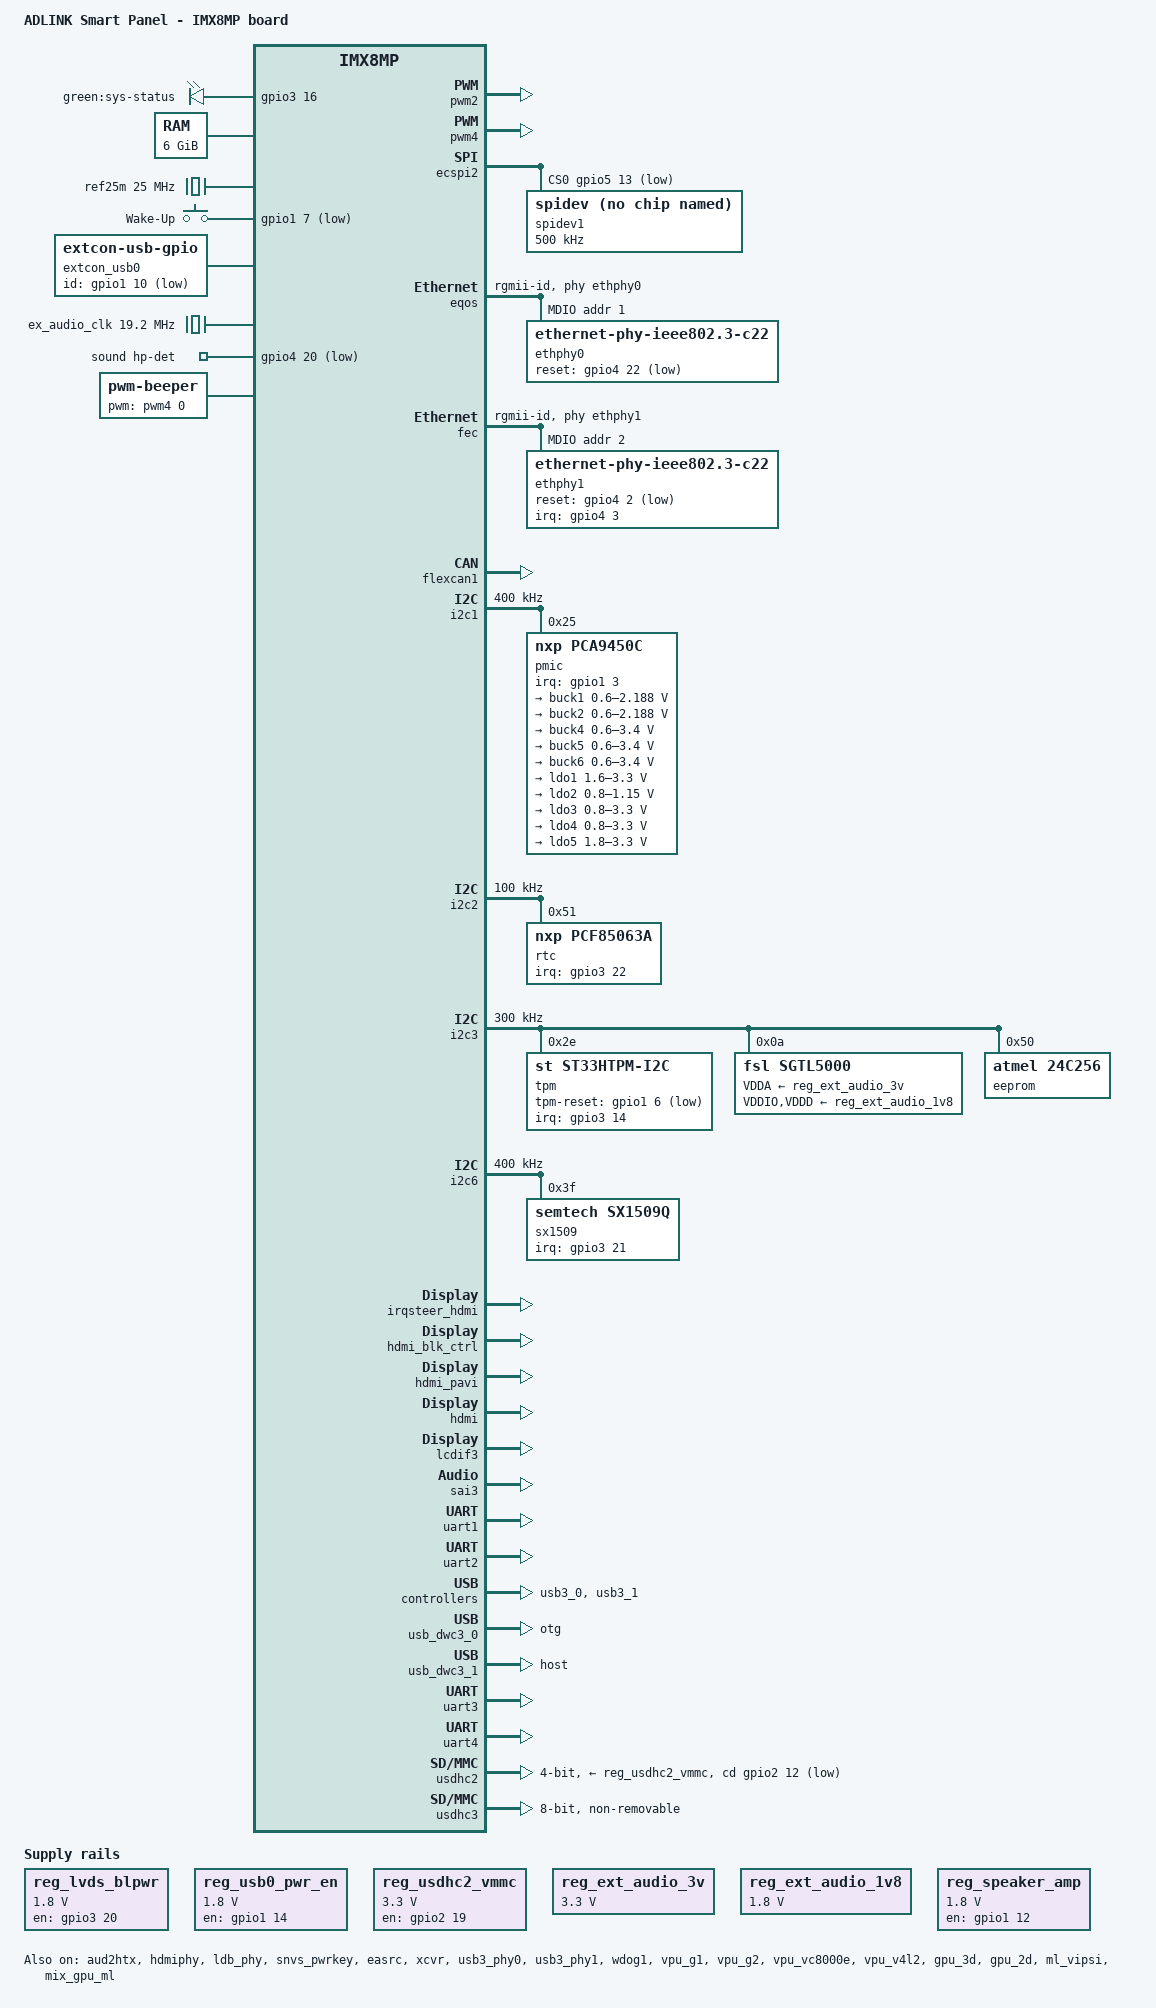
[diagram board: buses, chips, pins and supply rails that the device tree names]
// SPDX-License-Identifier: (GPL-2.0+ OR MIT)
/*
 * Copyright 2019 NXP
 */

/dts-v1/;

#include <dt-bindings/phy/phy-imx8-pcie.h>
#include <dt-bindings/usb/pd.h>
#include "imx8mp.dtsi"
#include <dt-bindings/gpio/gpio.h>
#include <dt-bindings/leds/common.h>

/ {
	model = "ADLINK Smart Panel - IMX8MP board";
	compatible = "fsl,imx8mp-evk", "fsl,imx8mp";

	chosen {
		stdout-path = &uart2;
	};

	gpio-leds {
		compatible = "gpio-leds";
		pinctrl-names = "default";
		pinctrl-0 = <&pinctrl_gpio_led>;

		status_led {
			label = "green:sys-status";
			gpios = <&gpio3 16 GPIO_ACTIVE_HIGH>;
			default-state = "on"; /* LED GREEN */
		};
	};

	memory@40000000 {
		device_type = "memory";
		reg = <0x0 0x40000000 0 0xc0000000>,
		      <0x1 0x00000000 0 0xc0000000>;
	};

	/* 25MHz reference crystal */
	ref25m: ref25xtal {
		compatible = "fixed-clock";
		#clock-cells = <0>;
		clock-frequency = <25000000>;
	};

	reg_lvds_blpwr: regulator-lvds-pwr {
		compatible = "regulator-fixed";
		pinctrl-names = "default";
		pinctrl-0 = <&pinctrl_reg_lvds_bl_pwr>;
		regulator-name = "vdd";
		regulator-min-microvolt = <1800000>;
		regulator-max-microvolt = <1800000>;
		gpio = <&gpio3 20 GPIO_ACTIVE_HIGH>;
		enable-active-high;
	};

	reg_usb0_pwr_en: regulator-usb0pwren {
		compatible = "regulator-fixed";
		pinctrl-names = "default";
		pinctrl-0 = <&pinctrl_usb0_pwr_en>;
		regulator-name = "usb0-pwr-en";
		regulator-min-microvolt = <1800000>;
		regulator-max-microvolt = <1800000>;
		gpio = <&gpio1 14 GPIO_ACTIVE_HIGH>;
		enable-active-high;
		regulator-always-on;
	};

	gpio-keys {
		compatible = "gpio-keys";
		pinctrl-names = "default";
		pinctrl-0 = <&pinctrl_gpio_keys>;

		wakeup {
			label = "Wake-Up";
			gpios = <&gpio1 7 GPIO_ACTIVE_LOW>;
			linux,code = <KEY_WAKEUP>;
			debounce-interval = <10>;
			wakeup-source;
		};
	};

	extcon_usb0: extcon-usb-idvbus-grp0 {
		compatible = "linux,extcon-usb-gpio";
		id-gpio = <&gpio1 10 GPIO_ACTIVE_LOW>; /* GPIO1_IO10 */
		// vbus-gpio = <&gpio1 15 GPIO_ACTIVE_LOW>; /* GPIO1_IO15 */
	};

	reg_usdhc2_vmmc: regulator-usdhc2 {
		compatible = "regulator-fixed";
		pinctrl-names = "default";
		pinctrl-0 = <&pinctrl_reg_usdhc2_vmmc>;
		regulator-name = "VSD_3V3";
		regulator-min-microvolt = <3300000>;
		regulator-max-microvolt = <3300000>;
		gpio = <&gpio2 19 GPIO_ACTIVE_HIGH>;
		enable-active-high;
	};

	reg_ext_audio_3v: regulator-ext-audio-3v {
		compatible = "regulator-fixed";
		regulator-name = "ext-audio-3V";
		regulator-min-microvolt = <3300000>;
		regulator-max-microvolt = <3300000>;
		regulator-always-on;
	};

	reg_ext_audio_1v8: regulator-ext-audio-1v8 {
		compatible = "regulator-fixed";
		regulator-name = "+V1.8";
		regulator-min-microvolt = <1800000>;
		regulator-max-microvolt = <1800000>;
		regulator-always-on;
	};

	ex_audio_clk: sgtl5000_19M {
		compatible = "fixed-clock";
		#clock-cells = <0>;
		clock-frequency = <19200000>; /* 19.2MHz */
	};

	reg_speaker_amp: regulator-audio-amplifier {
		compatible = "regulator-fixed";
		pinctrl-names = "default";
		pinctrl-0 = <&pinctrl_usbhub_spkamp>;
		regulator-name = "speaker-amp";
		regulator-min-microvolt = <1800000>;
		regulator-max-microvolt = <1800000>;
		gpios = <&gpio1 12 GPIO_ACTIVE_HIGH>;
		enable-active-high;
		regulator-always-on;
	};

	sound-hdmi {
		compatible = "fsl,imx-audio-hdmi";
		model = "audio-hdmi";
		audio-cpu = <&aud2htx>;
		hdmi-out;
		constraint-rate = <44100>,
				<88200>,
				<176400>,
				<32000>,
				<48000>,
				<96000>,
				<192000>;
		status = "okay";
	};

	sound {
		compatible = "fsl,imx-audio-sgtl5000";
		model = "audio-sgtl5000";
		pinctrl-names = "default";
		pinctrl-0 = <&pinctrl_hpdet>;
		hp-det-gpio = <&gpio4 20 GPIO_ACTIVE_LOW>;
		codec-master;
		ssi-controller = <&sai3>;
		audio-codec = <&sgtl5000>;
		audio-routing =
			"MIC_IN", "Mic Jack",
			"Mic Jack", "Mic Bias",
			"Headphone Jack", "HP_OUT",
			"Ext Spk", "LINE_OUT";
		mux-int-port = <1>;
		mux-ext-port = <3>;
	};

	lvds_backlight: lvds_backlight {
		compatible = "pwm-backlight";
		pinctrl-names = "default";
		pinctrl-0 = <&pinctrl_reg_bl_en>;
		enable-gpios = <&gpio1 0 GPIO_ACTIVE_HIGH>;
		power-supply = <&reg_lvds_blpwr>;
		pwms = <&pwm2 0 100000 0>;
		status = "disabled";

		brightness-levels = < 0  1  2  3  4  5  6  7  8  9
				     10 11 12 13 14 15 16 17 18 19
				     20 21 22 23 24 25 26 27 28 29
				     30 31 32 33 34 35 36 37 38 39
				     40 41 42 43 44 45 46 47 48 49
				     50 51 52 53 54 55 56 57 58 59
				     60 61 62 63 64 65 66 67 68 69
				     70 71 72 73 74 75 76 77 78 79
				     80 81 82 83 84 85 86 87 88 89
				     90 91 92 93 94 95 96 97 98 99
				    100>;
		default-brightness-level = <80>;
	};

	lvds0_panel {
		backlight = <&lvds_backlight>;
		pinctrl-names = "default";
		pinctrl-0 = <&pinctrl_reg_lvds_vdd>;
		enable-gpios = <&gpio4 27 GPIO_ACTIVE_HIGH>;

		data-mapping = "vesa-24";
		status = "disabled";

		port {
			panel_lvds_in: endpoint {
				remote-endpoint = <&lvds_out>;
			};
		};
	};

	pwm-beeper {
		compatible = "pwm-beeper";
		pwms = <&pwm4 0 500000 0>;
	};
};

&A53_0 {
	cpu-supply = <&buck2>;
};

&A53_1 {
	cpu-supply = <&buck2>;
};

&A53_2 {
	cpu-supply = <&buck2>;
};

&A53_3 {
	cpu-supply = <&buck2>;
};

&gpio1 {
	pinctrl-names = "default";
	pinctrl-0 = <&pinctrl_gpio1_hog>;

	gpio-line-names =       \
		"", "USB_MUX_SEL", "", "", "", "", "", "",  \
		"", "", "", "", "", "", "", "",      \
		"", "", "", "", "", "", "", "", \
		"", "", "", "", "", "", "", "";
};

&gpio4 {
	pinctrl-names = "default";
	pinctrl-0 = <&pinctrl_gpio4_hog>;

	gpio-line-names =	\
		"", "", "", "", "", "", "", "",	\
		"", "", "", "", "", "", "", "",	\
		"", "", "", "", "", "", "", "",	\
		"UART_MODE0", "UART_MODE1", "", "", "HWID_2", "HWID_3", "", "";
/*
	uart_mode0 {
		gpios = <&gpio4 24 GPIO_ACTIVE_HIGH>;
		output-low;
		line-name = "UART_MODE0";
	};

	uart_mode1 {
		gpios = <&gpio4 25 GPIO_ACTIVE_HIGH>;
		output-low;
		line-name = "UART_MODE1";
	};

	hwid_2 {
		gpios = <&gpio4 28 GPIO_ACTIVE_HIGH>;
		input;
		line-name = "HWID_2";
	};

	hwid_3 {
		gpios = <&gpio4 29 GPIO_ACTIVE_HIGH>;
		input;
		line-name = "HWID_3";
	};
*/
};

&gpio5 {
	pinctrl-names = "default";
	pinctrl-0 = <&pinctrl_gpio5_hog>;

	gpio-line-names =	\
		"", "", "", "", "", "HWID_1", "", "",	\
		"", "", "", "", "", "", "", "",	\
		"", "", "", "", "", "", "", "",	\
		"", "", "", "", "", "", "", "";
/*
	hwid_1 {
		gpios = <&gpio5 5 GPIO_ACTIVE_HIGH>;
		input;
		line-name = "HWID_1";
	};
*/
};

&pwm2 {
	pinctrl-names = "default";
	pinctrl-0 = <&pinctrl_bl_pwm2>;
	status = "okay";
};

&pwm4 {
	pinctrl-names = "default";
	pinctrl-0 = <&pinctrl_buzz_pwm4>;
	status = "okay";
};

&aud2htx {
	status = "okay";
};

&ecspi2 {
	#address-cells = <1>;
	#size-cells = <0>;
	fsl,spi-num-chipselects = <1>;
	pinctrl-names = "default";
	pinctrl-0 = <&pinctrl_ecspi2 &pinctrl_ecspi2_cs>;
	cs-gpios = <&gpio5 13 GPIO_ACTIVE_LOW>;
	status = "okay";

	spidev1: spi@0 {
		reg = <0>;
		compatible = "rohm,dh2228fv";
		spi-max-frequency = <500000>;
	};
};

&eqos {
	pinctrl-names = "default";
	pinctrl-0 = <&pinctrl_eqos>;
	phy-mode = "rgmii-id";
	phy-handle = <&ethphy0>;
	snps,force_thresh_dma_mode;
	snps,mtl-tx-config = <&mtl_tx_setup>;
	snps,mtl-rx-config = <&mtl_rx_setup>;
	status = "okay";

	mdio {
		compatible = "snps,dwmac-mdio";
		#address-cells = <1>;
		#size-cells = <0>;

		ethphy0: ethernet-phy@1 {
			compatible = "ethernet-phy-ieee802.3-c22";
			reg = <1>;
			eee-broken-1000t;
			reset-gpios = <&gpio4 22 GPIO_ACTIVE_LOW>;
			reset-assert-us = <10000>;
			reset-deassert-us = <80000>;
			realtek,clkout-disable;
		};
	};

	mtl_tx_setup: tx-queues-config {
		snps,tx-queues-to-use = <5>;
		snps,tx-sched-sp;

		queue0 {
			snps,dcb-algorithm;
			snps,priority = <0x1>;
		};

		queue1 {
			snps,dcb-algorithm;
			snps,priority = <0x2>;
		};

		queue2 {
			snps,dcb-algorithm;
			snps,priority = <0x4>;
		};

		queue3 {
			snps,dcb-algorithm;
			snps,priority = <0x8>;
		};

		queue4 {
			snps,dcb-algorithm;
			snps,priority = <0xf0>;
		};
	};

	mtl_rx_setup: rx-queues-config {
		snps,rx-queues-to-use = <5>;
		snps,rx-sched-sp;

		queue0 {
			snps,dcb-algorithm;
			snps,priority = <0x1>;
			snps,map-to-dma-channel = <0>;
		};

		queue1 {
			snps,dcb-algorithm;
			snps,priority = <0x2>;
			snps,map-to-dma-channel = <1>;
		};

		queue2 {
			snps,dcb-algorithm;
			snps,priority = <0x4>;
			snps,map-to-dma-channel = <2>;
		};

		queue3 {
			snps,dcb-algorithm;
			snps,priority = <0x8>;
			snps,map-to-dma-channel = <3>;
		};

		queue4 {
			snps,dcb-algorithm;
			snps,priority = <0xf0>;
			snps,map-to-dma-channel = <4>;
		};
	};
};

&fec {
	pinctrl-names = "default";
	pinctrl-0 = <&pinctrl_fec>;
	phy-mode = "rgmii-id";
	phy-handle = <&ethphy1>;
	fsl,magic-packet;
	status = "okay";

	mdio {
		#address-cells = <1>;
		#size-cells = <0>;

		ethphy1: ethernet-phy@1 {
			compatible = "ethernet-phy-ieee802.3-c22";
			reg = <2>;
			eee-broken-1000t;
			reset-gpios = <&gpio4 2 GPIO_ACTIVE_LOW>;
			reset-assert-us = <10000>;
			reset-deassert-us = <80000>;
			realtek,aldps-enable;
			realtek,clkout-disable;
			interrupt-parent = <&gpio4>;
			interrupts = <3 IRQ_TYPE_LEVEL_LOW>;
			wakeup-source;
		};
	};
};

&flexcan1 {
	pinctrl-names = "default";
	pinctrl-0 = <&pinctrl_flexcan1>;
	status = "okay";
};

&i2c1 {
	clock-frequency = <400000>;
	pinctrl-names = "default";
	pinctrl-0 = <&pinctrl_i2c1>;
	status = "okay";

	pmic@25 {
		compatible = "nxp,pca9450c";
		reg = <0x25>;
		pinctrl-names = "default";
		pinctrl-0 = <&pinctrl_pmic>;
		interrupt-parent = <&gpio1>;
		interrupts = <3 IRQ_TYPE_LEVEL_LOW>;

		regulators {
			buck1: BUCK1 {
				regulator-name = "BUCK1";
				regulator-min-microvolt = <600000>;
				regulator-max-microvolt = <2187500>;
				regulator-boot-on;
				regulator-always-on;
				regulator-ramp-delay = <3125>;
			};

			buck2: BUCK2 {
				regulator-name = "BUCK2";
				regulator-min-microvolt = <600000>;
				regulator-max-microvolt = <2187500>;
				regulator-boot-on;
				regulator-always-on;
				regulator-ramp-delay = <3125>;
				nxp,dvs-run-voltage = <950000>;
				nxp,dvs-standby-voltage = <850000>;
			};

			buck4: BUCK4{
				regulator-name = "BUCK4";
				regulator-min-microvolt = <600000>;
				regulator-max-microvolt = <3400000>;
				regulator-boot-on;
				regulator-always-on;
			};

			buck5: BUCK5{
				regulator-name = "BUCK5";
				regulator-min-microvolt = <600000>;
				regulator-max-microvolt = <3400000>;
				regulator-boot-on;
				regulator-always-on;
			};

			buck6: BUCK6 {
				regulator-name = "BUCK6";
				regulator-min-microvolt = <600000>;
				regulator-max-microvolt = <3400000>;
				regulator-boot-on;
				regulator-always-on;
			};

			ldo1: LDO1 {
				regulator-name = "LDO1";
				regulator-min-microvolt = <1600000>;
				regulator-max-microvolt = <3300000>;
				regulator-boot-on;
				regulator-always-on;
			};

			ldo2: LDO2 {
				regulator-name = "LDO2";
				regulator-min-microvolt = <800000>;
				regulator-max-microvolt = <1150000>;
				regulator-boot-on;
				regulator-always-on;
			};

			ldo3: LDO3 {
				regulator-name = "LDO3";
				regulator-min-microvolt = <800000>;
				regulator-max-microvolt = <3300000>;
				regulator-boot-on;
				regulator-always-on;
			};

			ldo4: LDO4 {
				regulator-name = "LDO4";
				regulator-min-microvolt = <800000>;
				regulator-max-microvolt = <3300000>;
				regulator-boot-on;
				regulator-always-on;
			};

			ldo5: LDO5 {
				regulator-name = "LDO5";
				regulator-min-microvolt = <1800000>;
				regulator-max-microvolt = <3300000>;
				regulator-boot-on;
				regulator-always-on;
			};
		};
	};
};

&i2c2 {
	clock-frequency = <100000>;
	pinctrl-names = "default";
	pinctrl-0 = <&pinctrl_i2c2>;
	status = "okay";
	
	/* RTC: PCF85063A */
	rtc: pcf85063a@51 {
		compatible = "nxp,pcf85063a";
		pinctrl-names = "default";
		pinctrl-0 = <&pinctrl_rtc>;
		quartz-load-femtofarads = <12500>;
		reg = <0x51>;
		interrupt-parent = <&gpio3>;
		interrupts = <22 IRQ_TYPE_EDGE_FALLING>;
	};

	/* Comment to show an external PCIe CLK GEN: PI6CG33202C-ZDIEX */
	/* pcieclk0: pi6cg33202@6a {
		reg = <0x6a>;
		compatible = "pi,6cg33202";
	}; */

};

&i2c3 {
	clock-frequency = <300000>;
	pinctrl-names = "default";
	pinctrl-0 = <&pinctrl_i2c3>;
	status = "okay";

	/* TPM: ST33HTPH2X32AHD5 */
	tpm: st33htph77@2e {
		compatible = "st,st33htpm-i2c";
		reg = <0x2e>;

		pinctrl-names = "default";
		pinctrl-0 = <&pinctrl_tpm>;
		interrupt-parent = <&gpio3>;
		interrupts = <14 IRQ_TYPE_EDGE_FALLING>;
		tpm-reset = <&gpio1 6 GPIO_ACTIVE_LOW>;
		status = "okay";
	};

	/* sgtl5000 audio codec */
	sgtl5000: audio-codec@a {
		compatible = "fsl,sgtl5000";
		#sound-dai-cells = <0>;
		reg = <0x0a>;
		micbias-voltage-m-volts = <2250>;
		VDDA-supply = <&reg_ext_audio_3v>;
		VDDIO-supply = <&reg_ext_audio_1v8>;
		VDDD-supply = <&reg_ext_audio_1v8>;
		clocks = <&ex_audio_clk>;
	};

	eeprom@50 {
		compatible = "atmel,24c256";
		#address-cells = <1>;
		#size-cells = <0>;
		reg = <0x50>;
		pagesize = <64>;
		size = <32768>;
		address-width = <16>;
	};
};

&i2c6 {
	clock-frequency = <400000>;
	pinctrl-names = "default";
	pinctrl-0 = <&pinctrl_i2c6>;
	status = "okay";

	/* SX1509 */
	sx1509: gpioext0@3f {
		#gpio-cells = <2>;
		#interrupt-cells = <2>;
		compatible = "semtech,sx1509q";
		reg = <0x3f>;

		semtech,probe-reset;
		gpio-controller;
		interrupt-controller;

		interrupt-parent = <&gpio3>;
		interrupts = <21 IRQ_TYPE_EDGE_FALLING>;

		gpio-line-names =	\
		"DI0", "DI1", "DI2", "DI3", "DO0", "DO1", "DO2", "DO3",	\
		"", "", "", "", "", "", "", "";

		status = "okay";

		/* GPIO Expander 0 Mapping :
		 * 0: CN_DI0, 1: CN_DI1, 2: CN_DI2, 3: CN_DI3,
		 * 4: CN_DO0, 5: CN_DO1, 6: CN_DO2, 7: CN_DO3
		 * 8~15: N/A
		 */
	};
};

&irqsteer_hdmi {
	status = "okay";
};

&hdmi_blk_ctrl {
	status = "okay";
};

&hdmi_pavi {
	status = "okay";
};

&hdmi {
	status = "okay";
};

&hdmiphy {
	status = "okay";
};

&lcdif1 {
	status = "disabled";
};

&lcdif2 {
	status = "disabled";
};

&lcdif3 {
	status = "okay";

	thres-low  = <1 2>;             /* (FIFO * 1 / 2) */
	thres-high = <3 4>;             /* (FIFO * 3 / 4) */
};

&ldb {
	/* fsl,dual-channel; */

	lvds-channel@0 {
		fsl,data-mapping = "spwg";
		fsl,data-width = <24>;

		port@1 {
			reg = <1>;

			lvds_out: endpoint {
				remote-endpoint = <&panel_lvds_in>;
			};
		};
	};
};

&ldb_phy {
	status = "okay";
};

&mipi_dsi {
	/delete-node/ panel@0;
};

&snvs_pwrkey {
	status = "okay";
};

&easrc {
	fsl,asrc-rate  = <48000>;
	status = "okay";
};

&sai3 {
	pinctrl-names = "default";
	pinctrl-0 = <&pinctrl_sai3>;
	/* fsl,sai-mclk-direction-output; */
	status = "okay";
};

&xcvr {
	#sound-dai-cells = <0>;
	status = "okay";
};

&sdma2 {
	status = "okay";
};

&uart1 { /* BT */
	pinctrl-names = "default";
	pinctrl-0 = <&pinctrl_uart1>;
	assigned-clocks = <&clk IMX8MP_CLK_UART1>;
	assigned-clock-parents = <&clk IMX8MP_SYS_PLL1_80M>;
	fsl,uart-has-rtscts;
	status = "okay";
};


&uart2 {
	/* console */
	pinctrl-names = "default";
	pinctrl-0 = <&pinctrl_uart2>;
	status = "okay";
};

&usb3_phy0 {
	//vbus-power-supply = <&ptn5110>;
	fsl,phy-tx-vref-tune = <0xe>;
	fsl,phy-tx-preemp-amp-tune = <3>;
	fsl,phy-tx-vboost-level = <2>; /* set amplitude to 1.04v */
	fsl,phy-comp-dis-tune = <7>;
	fsl,pcs-tx-deemph-3p5db = <0x21>;
	fsl,phy-pcs-tx-swing-full = <0x7f>;
	status = "okay";
};

&usb3_0 {
	status = "okay";
};

&usb_dwc3_0 {
	pinctrl-names = "default";
	pinctrl-0 = <&pinctrl_usb0_id>;
	dr_mode = "otg";
	// NOTE: don't set usb-role-switch to enable extcon
	// (patch core.c to enable extcon fn in drd.c)
	//usb-role-switch;
	// NOTE: dual role, not real OTG for imx8mp, no host-negocitation or session-request
	hnp-disable;
	srp-disable;
	extcon = <&extcon_usb0>;
	otg-rev = <0x0200>;
	status = "okay";
};

&usb3_phy1 {
	fsl,phy-tx-preemp-amp-tune = <3>;
	fsl,phy-tx-vref-tune = <0xb>;
	status = "okay";
};

&usb3_1 {
	status = "okay";
};

&usb_dwc3_1 {
	dr_mode = "host";
	status = "okay";
};

/* RS485 only */
&uart3 {
	pinctrl-names = "default";
	pinctrl-0 = <&pinctrl_uart3>;
	status = "okay";
};

/* SP399E RS232/RS422/RS485 */
&uart4 {
	pinctrl-names = "default";
	pinctrl-0 = <&pinctrl_uart4>;
	assigned-clocks = <&clk IMX8MP_CLK_UART4>;
	assigned-clock-parents = <&clk IMX8MP_SYS_PLL1_80M>;
	fsl,uart-has-rtscts;
	status = "okay";
};

&usdhc2 {
	assigned-clocks = <&clk IMX8MP_CLK_USDHC2>;
	assigned-clock-rates = <400000000>;
	pinctrl-names = "default", "state_100mhz", "state_200mhz";
	pinctrl-0 = <&pinctrl_usdhc2>, <&pinctrl_usdhc2_gpio>;
	pinctrl-1 = <&pinctrl_usdhc2_100mhz>, <&pinctrl_usdhc2_gpio>;
	pinctrl-2 = <&pinctrl_usdhc2_200mhz>, <&pinctrl_usdhc2_gpio>;
	cd-gpios = <&gpio2 12 GPIO_ACTIVE_LOW>;
	vmmc-supply = <&reg_usdhc2_vmmc>;
	bus-width = <4>;
	status = "okay";
};

&usdhc3 {
	assigned-clocks = <&clk IMX8MP_CLK_USDHC3>;
	assigned-clock-rates = <400000000>;
	pinctrl-names = "default", "state_100mhz", "state_200mhz";
	pinctrl-0 = <&pinctrl_usdhc3>;
	pinctrl-1 = <&pinctrl_usdhc3_100mhz>;
	pinctrl-2 = <&pinctrl_usdhc3_200mhz>;
	bus-width = <8>;
	non-removable;
	status = "okay";
};

&wdog1 {
	pinctrl-names = "default";
	pinctrl-0 = <&pinctrl_wdog>;
	fsl,ext-reset-output;
	status = "okay";
};

/*
fsl,pins = <PIN_FUNC_ID CONFIG>,
  - PIN_FUNC_ID is a pin (5-values) working on a specific function (MUX control)
  - CONFIG is the pad setting (1-value) like pull-up for this pin. (PAD control)
  see iomux-v3.h
*/
&iomuxc {
	pinctrl-names = "default";
	pinctrl-0 = <&pinctrl_hog>;

	pinctrl_hog: hoggrp {
		fsl,pins = <
			MX8MP_IOMUXC_HDMI_DDC_SCL__HDMIMIX_HDMI_SCL	0x400001c3
			MX8MP_IOMUXC_HDMI_DDC_SDA__HDMIMIX_HDMI_SDA	0x400001c3
			MX8MP_IOMUXC_HDMI_HPD__HDMIMIX_HDMI_HPD		0x40000019
			MX8MP_IOMUXC_HDMI_CEC__HDMIMIX_HDMI_CEC		0x40000019

			MX8MP_IOMUXC_SAI5_RXD2__GPIO3_IO23	0x00000106	// I2C6_INT#
			MX8MP_IOMUXC_SD1_DATA6__GPIO2_IO08	0x00000106	// M.2 BT wakeup
			MX8MP_IOMUXC_SD1_DATA7__GPIO2_IO09	0x00000106	// M.2 SDIO wakeup
		>;
	};

	pinctrl_rtc: rtcgrp {
		fsl,pins = <
			MX8MP_IOMUXC_SAI5_RXD1__GPIO3_IO22	0x80  /* RTC intr */
		>;
	};

	pinctrl_bl_pwm2: blpwm2grp {
		fsl,pins = <
			MX8MP_IOMUXC_GPIO1_IO11__PWM2_OUT	0x116
		>;
	};

	pinctrl_buzz_pwm4: buzzpwm4grp {
		fsl,pins = <
			MX8MP_IOMUXC_SAI5_RXFS__PWM4_OUT	0x116
		>;
	};

	pinctrl_tpm: tpmgrp {
		fsl,pins = <
			MX8MP_IOMUXC_NAND_DQS__GPIO3_IO14		0xd6	// TPM IRQ
			MX8MP_IOMUXC_GPIO1_IO06__GPIO1_IO06		0x156	// TPM reset
		>;
	};

	pinctrl_usbhub_spkamp: usbhubspkampgrp {
		fsl,pins = <
			MX8MP_IOMUXC_GPIO1_IO12__GPIO1_IO12		0x146	//HUB_RESET or AUDIO_AMP
		>;
	};

	pinctrl_eqos: eqosgrp {
		fsl,pins = <
			MX8MP_IOMUXC_ENET_MDC__ENET_QOS_MDC				0x3
			MX8MP_IOMUXC_ENET_MDIO__ENET_QOS_MDIO				0x3
			MX8MP_IOMUXC_ENET_RD0__ENET_QOS_RGMII_RD0			0x91
			MX8MP_IOMUXC_ENET_RD1__ENET_QOS_RGMII_RD1			0x91
			MX8MP_IOMUXC_ENET_RD2__ENET_QOS_RGMII_RD2			0x91
			MX8MP_IOMUXC_ENET_RD3__ENET_QOS_RGMII_RD3			0x91
			MX8MP_IOMUXC_ENET_RXC__CCM_ENET_QOS_CLOCK_GENERATE_RX_CLK	0x91
			MX8MP_IOMUXC_ENET_RX_CTL__ENET_QOS_RGMII_RX_CTL			0x91
			MX8MP_IOMUXC_ENET_TD0__ENET_QOS_RGMII_TD0			0x1f
			MX8MP_IOMUXC_ENET_TD1__ENET_QOS_RGMII_TD1			0x1f
			MX8MP_IOMUXC_ENET_TD2__ENET_QOS_RGMII_TD2			0x1f
			MX8MP_IOMUXC_ENET_TD3__ENET_QOS_RGMII_TD3			0x1f
			MX8MP_IOMUXC_ENET_TX_CTL__ENET_QOS_RGMII_TX_CTL			0x1f
			MX8MP_IOMUXC_ENET_TXC__CCM_ENET_QOS_CLOCK_GENERATE_TX_CLK	0x1f
			MX8MP_IOMUXC_SAI2_RXC__GPIO4_IO22				0x19		//ENET RESET
			MX8MP_IOMUXC_SAI2_RXFS__GPIO4_IO21				0x00000106	//ENET INT
			MX8MP_IOMUXC_GPIO1_IO08__ENET_QOS_1588_EVENT0_IN		0x106
			MX8MP_IOMUXC_GPIO1_IO09__ENET_QOS_1588_EVENT0_OUT		0x106
		>;
	};

	pinctrl_fec: fecgrp {
		fsl,pins = <
			MX8MP_IOMUXC_SAI1_RXD2__ENET1_MDC		0x3
			MX8MP_IOMUXC_SAI1_RXD3__ENET1_MDIO		0x3
			MX8MP_IOMUXC_SAI1_RXD4__ENET1_RGMII_RD0		0x91
			MX8MP_IOMUXC_SAI1_RXD5__ENET1_RGMII_RD1		0x91
			MX8MP_IOMUXC_SAI1_RXD6__ENET1_RGMII_RD2		0x91
			MX8MP_IOMUXC_SAI1_RXD7__ENET1_RGMII_RD3		0x91
			MX8MP_IOMUXC_SAI1_TXC__ENET1_RGMII_RXC		0x91
			MX8MP_IOMUXC_SAI1_TXFS__ENET1_RGMII_RX_CTL	0x91
			MX8MP_IOMUXC_SAI1_TXD0__ENET1_RGMII_TD0		0x1f
			MX8MP_IOMUXC_SAI1_TXD1__ENET1_RGMII_TD1		0x1f
			MX8MP_IOMUXC_SAI1_TXD2__ENET1_RGMII_TD2		0x1f
			MX8MP_IOMUXC_SAI1_TXD3__ENET1_RGMII_TD3		0x1f
			MX8MP_IOMUXC_SAI1_TXD4__ENET1_RGMII_TX_CTL	0x1f
			MX8MP_IOMUXC_SAI1_TXD5__ENET1_RGMII_TXC		0x1f
			MX8MP_IOMUXC_SAI1_RXD1__GPIO4_IO03		0x00000106	//ENET1 INT
			MX8MP_IOMUXC_SAI1_RXD0__GPIO4_IO02		0x19		//ENET1_RESET
			MX8MP_IOMUXC_SAI1_RXC__ENET1_1588_EVENT0_OUT	0x00000106
			MX8MP_IOMUXC_SAI1_RXFS__ENET1_1588_EVENT0_IN	0x00000106
		>;
	};

	pinctrl_flexcan1: flexcan1grp {
		fsl,pins = <
			MX8MP_IOMUXC_SPDIF_RX__CAN1_RX		0x154
			MX8MP_IOMUXC_SPDIF_TX__CAN1_TX		0x154
		>;
	};

	pinctrl_ecspi2: ecspi2grp {
		fsl,pins = <
			MX8MP_IOMUXC_ECSPI2_SCLK__ECSPI2_SCLK		0x82
			MX8MP_IOMUXC_ECSPI2_MOSI__ECSPI2_MOSI		0x82
			MX8MP_IOMUXC_ECSPI2_MISO__ECSPI2_MISO		0x82
		>;
	};

	pinctrl_ecspi2_cs: ecspi2cs {
		fsl,pins = <
			MX8MP_IOMUXC_ECSPI2_SS0__GPIO5_IO13		0x40000
		>;
	};

	pinctrl_gpio_led: gpioledgrp {
		fsl,pins = <
			MX8MP_IOMUXC_NAND_READY_B__GPIO3_IO16	0x140
		>;
	};

	pinctrl_i2c1: i2c1grp {
		fsl,pins = <
			MX8MP_IOMUXC_I2C1_SCL__I2C1_SCL		0x400001c2
			MX8MP_IOMUXC_I2C1_SDA__I2C1_SDA		0x400001c2
		>;
	};

	pinctrl_i2c2: i2c2grp {
		fsl,pins = <
			MX8MP_IOMUXC_I2C2_SCL__I2C2_SCL		0x400001c2
			MX8MP_IOMUXC_I2C2_SDA__I2C2_SDA		0x400001c2
		>;
	};

	pinctrl_i2c3: i2c3grp {
		fsl,pins = <
			MX8MP_IOMUXC_I2C3_SCL__I2C3_SCL		0x400001c2
			MX8MP_IOMUXC_I2C3_SDA__I2C3_SDA		0x400001c2
		>;
	};

	pinctrl_i2c6: i2c6grp {
		fsl,pins = <
			MX8MP_IOMUXC_UART4_RXD__I2C6_SCL	0x400001c2
			MX8MP_IOMUXC_UART4_TXD__I2C6_SDA	0x400001c2
		>;
	};

	pinctrl_pmic: pmicgrp {
		fsl,pins = <
			MX8MP_IOMUXC_GPIO1_IO03__GPIO1_IO03	0x000001c0
		>;
	};

	pinctrl_reg_bl_en: regblengrp {
		fsl,pins = <
			MX8MP_IOMUXC_GPIO1_IO00__GPIO1_IO00	0x16
		>;
	};

	pinctrl_reg_lvds_vdd: reglvdsvddgrp {
		fsl,pins = <
			MX8MP_IOMUXC_SAI2_MCLK__GPIO4_IO27	0x16
		>;
	};

	pinctrl_reg_lvds_bl_pwr: reglvdsblpwrgrp {
		fsl,pins = <
			MX8MP_IOMUXC_SAI5_RXC__GPIO3_IO20	0x106
		>;
	};

	pinctrl_reg_usdhc2_vmmc: regusdhc2vmmcgrp {
		fsl,pins = <
			MX8MP_IOMUXC_SD2_RESET_B__GPIO2_IO19	0x41
		>;
	};

	pinctrl_sai3: sai3grp {
		fsl,pins = <
			MX8MP_IOMUXC_SAI3_TXFS__AUDIOMIX_SAI3_TX_SYNC	0xd6
			MX8MP_IOMUXC_SAI3_TXC__AUDIOMIX_SAI3_TX_BCLK	0xd6
			MX8MP_IOMUXC_SAI3_RXD__AUDIOMIX_SAI3_RX_DATA00	0xd6
			MX8MP_IOMUXC_SAI3_TXD__AUDIOMIX_SAI3_TX_DATA00	0xd6
			MX8MP_IOMUXC_SAI3_MCLK__AUDIOMIX_SAI3_MCLK	0xd6
		>;
	};

	pinctrl_i2c2_irq: i2c2irqgrp {
		fsl,pins = <
			MX8MP_IOMUXC_SAI1_TXD6__GPIO4_IO18	0x1c4
		>;
	};

	pinctrl_i2c3_irq: i2c3irqgrp {
		fsl,pins = <
			MX8MP_IOMUXC_SAI1_TXD7__GPIO4_IO19	0x1c4
		>;
	};

	pinctrl_gpio_keys: gpiokeysgrp {
		fsl,pins = <
			MX8MP_IOMUXC_GPIO1_IO07__GPIO1_IO07	0x80 // FUNCTION_INT
		>;
	};

	pinctrl_hpdet: hpdetgrp {
		fsl,pins = <
			MX8MP_IOMUXC_SAI1_MCLK__GPIO4_IO20	0x1C6
		>;
	};

	pinctrl_usb0_pwr_en: usb0pwrengrp {
		fsl,pins = <
			MX8MP_IOMUXC_GPIO1_IO14__GPIO1_IO14	0x16
		>;
	};

	pinctrl_gpio1_hog: gpio1hoggrp {
		fsl,pins = <
			MX8MP_IOMUXC_GPIO1_IO01__GPIO1_IO01	0x19	// GPIO_USB_MUX_SEL(Need check boot status is high or low)
		>;
	};

	pinctrl_gpio4_hog: gpio4hoggrp {
		fsl,pins = <
			MX8MP_IOMUXC_SAI2_TXFS__GPIO4_IO24	0x19	// UART_MODE0
			MX8MP_IOMUXC_SAI2_TXC__GPIO4_IO25	0x19	// UART_MODE1
			MX8MP_IOMUXC_SAI3_RXFS__GPIO4_IO28	0x80	// HWID_2
			MX8MP_IOMUXC_SAI3_RXC__GPIO4_IO29	0x80	// HWID_3
		>;
	};

	pinctrl_gpio5_hog: gpio5hoggrp {
		fsl,pins = <
			MX8MP_IOMUXC_SPDIF_EXT_CLK__GPIO5_IO05	0x00000106	// HWID_1
		>;
	};

	pinctrl_uart1: uart1grp {
		fsl,pins = <
			MX8MP_IOMUXC_UART1_RXD__UART1_DCE_RX	0x140
			MX8MP_IOMUXC_UART1_TXD__UART1_DCE_TX	0x140
			MX8MP_IOMUXC_UART3_RXD__UART1_DCE_CTS	0x140
			MX8MP_IOMUXC_UART3_TXD__UART1_DCE_RTS	0x140
		>;
	};

	pinctrl_usb0_id: usb0-id-grp {
		fsl,pins = <
			// MX8MP_IOMUXC_GPIO1_IO10__USB1_ID		0x19 // DNU - do not use
			MX8MP_IOMUXC_GPIO1_IO10__GPIO1_IO10		0x19
		>;
	};

	pinctrl_usb0_oc: usb0-oc-grp {
		fsl,pins = <
			// MX8MP_IOMUXC_GPIO1_IO15__USB2_OC		0x19
			MX8MP_IOMUXC_GPIO1_IO15__GPIO1_IO15		0x19
		>;
	};

//	pinctrl_usb1_oc: usb1ocgrp {
//		fsl,pins = <
//			MX8MP_IOMUXC_GPIO1_IO13__USB1_OC		0x19
//		>;
//	};

	pinctrl_uart2: uart2grp {
		fsl,pins = <
			MX8MP_IOMUXC_UART2_RXD__UART2_DCE_RX	0x140
			MX8MP_IOMUXC_UART2_TXD__UART2_DCE_TX	0x140
		>;
	};

	pinctrl_uart3: uart3grp {
		fsl,pins = <
			MX8MP_IOMUXC_ECSPI1_SCLK__UART3_DCE_RX		0x140
			MX8MP_IOMUXC_ECSPI1_MOSI__UART3_DCE_TX		0x140
			MX8MP_IOMUXC_ECSPI1_SS0__UART3_DCE_RTS		0x140
			MX8MP_IOMUXC_ECSPI1_MISO__UART3_DCE_CTS		0x140
		>;
	};

	pinctrl_uart4: uart4grp {
		fsl,pins = <
			MX8MP_IOMUXC_NAND_DATA00__UART4_DCE_RX		0x140
			MX8MP_IOMUXC_NAND_DATA01__UART4_DCE_TX		0x140
			MX8MP_IOMUXC_NAND_DATA02__UART4_DCE_CTS		0x140
			MX8MP_IOMUXC_NAND_DATA03__UART4_DCE_RTS		0x140
		>;
	};

	pinctrl_usdhc2: usdhc2grp {
		fsl,pins = <
			MX8MP_IOMUXC_SD2_CLK__USDHC2_CLK	0x190
			MX8MP_IOMUXC_SD2_CMD__USDHC2_CMD	0x1d0
			MX8MP_IOMUXC_SD2_DATA0__USDHC2_DATA0	0x1d0
			MX8MP_IOMUXC_SD2_DATA1__USDHC2_DATA1	0x1d0
			MX8MP_IOMUXC_SD2_DATA2__USDHC2_DATA2	0x1d0
			MX8MP_IOMUXC_SD2_DATA3__USDHC2_DATA3	0x1d0
			MX8MP_IOMUXC_GPIO1_IO04__USDHC2_VSELECT	0xc1
		>;
	};

	pinctrl_usdhc2_100mhz: usdhc2-100mhzgrp {
		fsl,pins = <
			MX8MP_IOMUXC_SD2_CLK__USDHC2_CLK	0x194
			MX8MP_IOMUXC_SD2_CMD__USDHC2_CMD	0x1d4
			MX8MP_IOMUXC_SD2_DATA0__USDHC2_DATA0	0x1d4
			MX8MP_IOMUXC_SD2_DATA1__USDHC2_DATA1	0x1d4
			MX8MP_IOMUXC_SD2_DATA2__USDHC2_DATA2	0x1d4
			MX8MP_IOMUXC_SD2_DATA3__USDHC2_DATA3	0x1d4
			MX8MP_IOMUXC_GPIO1_IO04__USDHC2_VSELECT 0xc1
		>;
	};

	pinctrl_usdhc2_200mhz: usdhc2-200mhzgrp {
		fsl,pins = <
			MX8MP_IOMUXC_SD2_CLK__USDHC2_CLK	0x196
			MX8MP_IOMUXC_SD2_CMD__USDHC2_CMD	0x1d6
			MX8MP_IOMUXC_SD2_DATA0__USDHC2_DATA0	0x1d6
			MX8MP_IOMUXC_SD2_DATA1__USDHC2_DATA1	0x1d6
			MX8MP_IOMUXC_SD2_DATA2__USDHC2_DATA2	0x1d6
			MX8MP_IOMUXC_SD2_DATA3__USDHC2_DATA3	0x1d6
			MX8MP_IOMUXC_GPIO1_IO04__USDHC2_VSELECT 0xc1
		>;
	};

	pinctrl_usdhc2_gpio: usdhc2gpiogrp {
		fsl,pins = <
			MX8MP_IOMUXC_SD2_CD_B__GPIO2_IO12	0x1c4
		>;
	};

	pinctrl_usdhc3: usdhc3grp {
		fsl,pins = <
			MX8MP_IOMUXC_NAND_WE_B__USDHC3_CLK	0x190
			MX8MP_IOMUXC_NAND_WP_B__USDHC3_CMD	0x1d0
			MX8MP_IOMUXC_NAND_DATA04__USDHC3_DATA0	0x1d0
			MX8MP_IOMUXC_NAND_DATA05__USDHC3_DATA1	0x1d0
			MX8MP_IOMUXC_NAND_DATA06__USDHC3_DATA2	0x1d0
			MX8MP_IOMUXC_NAND_DATA07__USDHC3_DATA3	0x1d0
			MX8MP_IOMUXC_NAND_RE_B__USDHC3_DATA4	0x1d0
			MX8MP_IOMUXC_NAND_CE2_B__USDHC3_DATA5	0x1d0
			MX8MP_IOMUXC_NAND_CE3_B__USDHC3_DATA6	0x1d0
			MX8MP_IOMUXC_NAND_CLE__USDHC3_DATA7	0x1d0
			MX8MP_IOMUXC_NAND_CE1_B__USDHC3_STROBE	0x190
		>;
	};

	pinctrl_usdhc3_100mhz: usdhc3-100mhzgrp {
		fsl,pins = <
			MX8MP_IOMUXC_NAND_WE_B__USDHC3_CLK	0x194
			MX8MP_IOMUXC_NAND_WP_B__USDHC3_CMD	0x1d4
			MX8MP_IOMUXC_NAND_DATA04__USDHC3_DATA0	0x1d4
			MX8MP_IOMUXC_NAND_DATA05__USDHC3_DATA1	0x1d4
			MX8MP_IOMUXC_NAND_DATA06__USDHC3_DATA2	0x1d4
			MX8MP_IOMUXC_NAND_DATA07__USDHC3_DATA3	0x1d4
			MX8MP_IOMUXC_NAND_RE_B__USDHC3_DATA4	0x1d4
			MX8MP_IOMUXC_NAND_CE2_B__USDHC3_DATA5	0x1d4
			MX8MP_IOMUXC_NAND_CE3_B__USDHC3_DATA6	0x1d4
			MX8MP_IOMUXC_NAND_CLE__USDHC3_DATA7	0x1d4
			MX8MP_IOMUXC_NAND_CE1_B__USDHC3_STROBE	0x194
		>;
	};

	pinctrl_usdhc3_200mhz: usdhc3-200mhzgrp {
		fsl,pins = <
			MX8MP_IOMUXC_NAND_WE_B__USDHC3_CLK	0x196
			MX8MP_IOMUXC_NAND_WP_B__USDHC3_CMD	0x1d6
			MX8MP_IOMUXC_NAND_DATA04__USDHC3_DATA0	0x1d6
			MX8MP_IOMUXC_NAND_DATA05__USDHC3_DATA1	0x1d6
			MX8MP_IOMUXC_NAND_DATA06__USDHC3_DATA2	0x1d6
			MX8MP_IOMUXC_NAND_DATA07__USDHC3_DATA3	0x1d6
			MX8MP_IOMUXC_NAND_RE_B__USDHC3_DATA4	0x1d6
			MX8MP_IOMUXC_NAND_CE2_B__USDHC3_DATA5	0x1d6
			MX8MP_IOMUXC_NAND_CE3_B__USDHC3_DATA6	0x1d6
			MX8MP_IOMUXC_NAND_CLE__USDHC3_DATA7	0x1d6
			MX8MP_IOMUXC_NAND_CE1_B__USDHC3_STROBE	0x196
		>;
	};

	pinctrl_wdog: wdoggrp {
		fsl,pins = <
			MX8MP_IOMUXC_GPIO1_IO02__WDOG1_WDOG_B	0x166
		>;
	};
};

&vpu_g1 {
	status = "okay";
};

&vpu_g2 {
	status = "okay";
};

&vpu_vc8000e {
	status = "okay";
};

&vpu_v4l2 {
	status = "okay";
};

&gpu_3d {
	status = "okay";
};

&gpu_2d {
	status = "okay";
};

&ml_vipsi {
	status = "okay";
};

&mix_gpu_ml {
	status = "okay";
};
